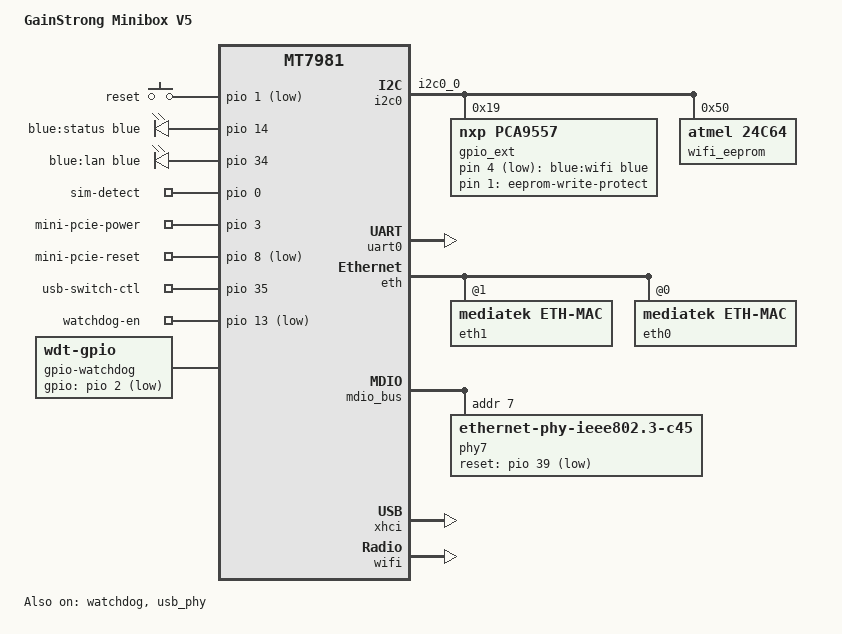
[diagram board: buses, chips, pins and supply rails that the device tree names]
// SPDX-License-Identifier: (GPL-2.0-only OR MIT)
/dts-v1/;

#include "mt7981b.dtsi"

/ {
	model = "GainStrong Minibox V5";
	compatible = "gainstrong,minibox-v5", "mediatek,mt7981";

	chosen: chosen {
		stdout-path = "serial0:115200n8";
		bootargs-append = " root=/dev/fit0 rootwait";
	};

	aliases {
		serial0 = &uart0;
		led-boot = &led_blue_status;
		led-failsafe = &led_blue_status;
		led-running = &led_blue_status;
		led-upgrade = &led_blue_status;
	};

	gpio-keys {
		compatible = "gpio-keys";

		reset {
			label = "reset";
			linux,code = <KEY_RESTART>;
			gpios = <&pio 1 GPIO_ACTIVE_LOW>;
		};
	};

	leds {
		compatible = "gpio-leds";

		led_blue_status: led-status {
			color = <LED_COLOR_ID_BLUE>;
			function = LED_FUNCTION_STATUS;
			label = "blue:status";
			gpios = <&pio 14 GPIO_ACTIVE_HIGH>;
		};

		led_blue_lan: led-lan {
			color = <LED_COLOR_ID_BLUE>;
			function = LED_FUNCTION_LAN;
			label = "blue:lan";
			gpios = <&pio 34 GPIO_ACTIVE_HIGH>;
		};

		led_blue_wifi: led-wifi {
			color = <LED_COLOR_ID_BLUE>;
			function = LED_FUNCTION_WLAN;
			label = "blue:wifi";
			gpios = <&gpio_ext 4 GPIO_ACTIVE_LOW>;
			linux,default-trigger = "phy0radio";
		};
	};

	gpio-export {
		compatible = "gpio-export";

		sim-detect {
			gpio-export,name = "sim-detect";
			gpios = <&pio 0 GPIO_ACTIVE_HIGH>;
		};

		mini-pcie-power {
			gpio-export,name = "mini-pcie-power";
			gpio-export,output = <1>;
			gpios = <&pio 3 GPIO_ACTIVE_HIGH>;
		};

		mini-pcie-reset {
			gpio-export,name = "mini-pcie-reset";
			/* RESET#: active low, keep deasserted by default */
			gpio-export,output = <1>;
			gpios = <&pio 8 GPIO_ACTIVE_LOW>;
		};

		eeprom-write-protect {
			gpio-export,name = "eeprom-write-protect";
			/* EEWP_HOLD: high = write protect, low = writable */
			gpio-export,output = <1>;
			gpios = <&gpio_ext 1 GPIO_ACTIVE_HIGH>;
		};

		usb-switch-ctl {
			gpio-export,name = "usb-switch-ctl";
			/*
			 * USB_SWTICH_CTL (GPIO35 / PCIE_WAKE_N):
			 * default route to USB hub.
			 */
			gpio-export,output = <0>;
			gpios = <&pio 35 GPIO_ACTIVE_HIGH>;
		};

		watchdog-en {
			gpio-export,name = "watchdog-en";
			/*
			 * WATCHDOG_EN: external watchdog enable switch.
			 * External pull-up keeps this line high by default.
			 * Low = enabled, high or input (Hi-Z) = disabled.
			 * Firmware stage defaults to low (enabled).
			 */
			gpio-export,output = <0>;
			gpios = <&pio 13 GPIO_ACTIVE_LOW>;
		};
	};

	gpio-watchdog {
		compatible = "linux,wdt-gpio";
		gpios = <&pio 2 GPIO_ACTIVE_LOW>;
		hw_algo = "toggle";
		hw_margin_ms = <1000>;
	};
};

&pio {
	i2c0_pins: i2c0-pins {
		mux {
			function = "i2c";
			groups = "i2c0_0";
		};
	};

};

&i2c0 {
	pinctrl-names = "default";
	pinctrl-0 = <&i2c0_pins>;
	status = "okay";

	gpio_ext: gpio_expander@19 {
		/*
		 * U90036: PCA9557PW,118 (TSSOP16)
		 *
		 * I2C address straps: A0=1, A1=0, A2=0 -> 7-bit address 0x19
		 * Note: Linux DT "reg" uses 7-bit addresses (0x19 = 0x32/0x33 in 8-bit form).
		 */
		compatible = "nxp,pca9557";
		gpio-controller;
		#gpio-cells = <2>;
		reg = <0x19>;
		gpio-line-names = "MUTE", "EEWP_HOLD", "ZIGBEE_RST", "KEY_BLE_ZIGBEE",
				 "LED_WIFI", "BLE_RST", "NC_IO6", "NC_IO7";
		status = "okay";
	};

	/* Wi-Fi calibration data */
	wifi_eeprom@50 {
		compatible = "atmel,24c64";
		reg = <0x50>;

		nvmem-layout {
			compatible = "fixed-layout";
			#address-cells = <1>;
			#size-cells = <1>;

			wifi_eeprom_0: eeprom@0 {
				reg = <0x0 0x1000>;
			};

			macaddr_eeprom_4: macaddr@4 {
				compatible = "mac-base";
				reg = <0x4 0x6>;
				#nvmem-cell-cells = <1>;
			};
		};
	};
};

&watchdog {
	status = "okay";
};

&mmc0 {
	status = "disabled";
};

&uart0 {
	status = "okay";
};

&spi0 {
	status = "disabled";
};

&eth {
	pinctrl-names = "default";
	pinctrl-0 = <&mdio_pins>;
	status = "okay";

	/* LAN: CPU built-in Gigabit Ethernet */
	eth1: eth1 {
		compatible = "mediatek,eth-mac";
		reg = <1>;
		phy-mode = "gmii";
		phy-handle = <&int_gbe_phy>;

		nvmem-cells = <&macaddr_eeprom_4 1>;
		nvmem-cell-names = "mac-address";
	};

	/* WAN: RTL8221B-VB-CG 2.5G Ethernet */
	eth0: eth0 {
		compatible = "mediatek,eth-mac";
		reg = <0>;
		phy-mode = "2500base-x";
		phy-handle = <&phy7>;
		status = "okay";

		nvmem-cells = <&macaddr_eeprom_4 0>;
		nvmem-cell-names = "mac-address";
	};
};

&mdio_bus {
	phy7: ethernet-phy@7 {
		compatible = "ethernet-phy-ieee802.3-c45";
		reg = <7>;
		reset-gpios = <&pio 39 GPIO_ACTIVE_LOW>;
		interrupts = <38 IRQ_TYPE_LEVEL_LOW>;
		reset-assert-us = <100000>;
		reset-deassert-us = <100000>;
		realtek,aldps-enable;
		realtek,led-link-select = <0xa7 0x0 0x0>;
	};
};

&usb_phy {
	status = "okay";
};

&xhci {
	status = "okay";
};

&wifi {
	status = "okay";
	nvmem-cells = <&wifi_eeprom_0>;
	nvmem-cell-names = "eeprom";
};
